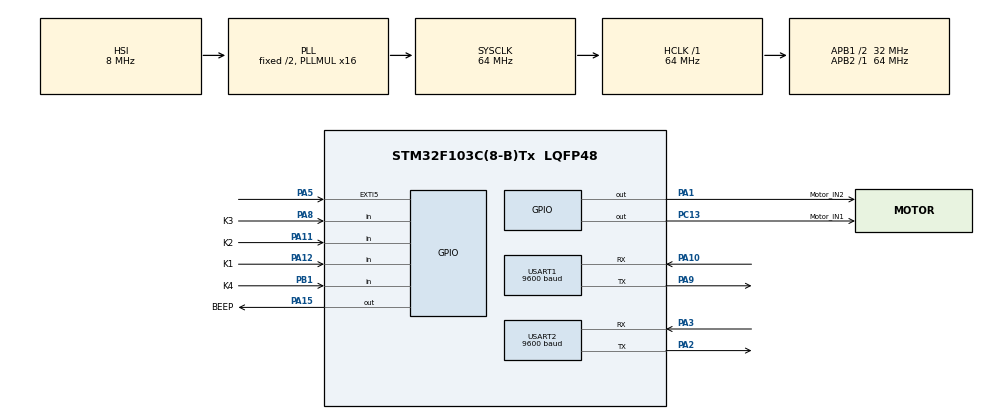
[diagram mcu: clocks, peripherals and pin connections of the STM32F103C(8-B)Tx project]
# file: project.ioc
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Mcu.Family=STM32F1
Mcu.Name=STM32F103C(8-B)Tx
Mcu.Package=LQFP48
NVIC.EXTI9_5_IRQn=true\:0\:0\:false\:false\:true\:true\:true
NVIC.PriorityGroup=NVIC_PRIORITYGROUP_4
NVIC.TIM1_UP_IRQn=true\:1\:0\:true\:false\:true\:true\:true
PA1.GPIO_Label=Motor_IN2
PA1.GPIO_PuPd=GPIO_PULLUP
PA1.GPIO_Speed=GPIO_SPEED_FREQ_HIGH
PA1.Signal=GPIO_Output
PA10.Mode=Asynchronous
PA10.Signal=USART1_RX
PA11.GPIO_Label=K2
PA11.GPIO_Mode=GPIO_MODE_INPUT
PA11.GPIO_PuPd=GPIO_PULLUP
PA11.Signal=GPIO_Input
PA12.GPIO_Label=K1
PA12.GPIO_Mode=GPIO_MODE_INPUT
PA12.GPIO_PuPd=GPIO_PULLUP
PA12.Signal=GPIO_Input
PA13.Mode=Serial_Wire
PA13.Signal=SYS_JTMS-SWDIO
PA14.Mode=Serial_Wire
PA14.Signal=SYS_JTCK-SWCLK
PA15.GPIO_Label=BEEP
PA15.GPIO_PuPd=GPIO_PULLUP
PA15.GPIO_Speed=GPIO_SPEED_FREQ_HIGH
PA15.PinState=GPIO_PIN_SET
PA15.Signal=GPIO_Output
PA2.Mode=Asynchronous
PA2.Signal=USART2_TX
PA3.Mode=Asynchronous
PA3.Signal=USART2_RX
PA5.Signal=GPXTI5
PA8.GPIO_Label=K3
PA8.GPIO_Mode=GPIO_MODE_INPUT
PA8.GPIO_PuPd=GPIO_PULLUP
PA8.Signal=GPIO_Input
PA9.Mode=Asynchronous
PA9.Signal=USART1_TX
PB1.GPIO_Label=K4
PB1.GPIO_Mode=GPIO_MODE_INPUT
PB1.GPIO_PuPd=GPIO_PULLUP
PB1.Signal=GPIO_Input
PC13-TAMPER-RTC.GPIO_Label=Motor_IN1
PC13-TAMPER-RTC.Signal=GPIO_Output
PC14-OSC32_IN.Mode=LSE-External-Oscillator
PC14-OSC32_IN.Signal=RCC_OSC32_IN
PC15-OSC32_OUT.Mode=LSE-External-Oscillator
PC15-OSC32_OUT.Signal=RCC_OSC32_OUT
ProjectManager.HeapSize=0x200
ProjectManager.StackSize=0x400
ProjectManager.TargetToolchain=MDK-ARM V5.27
RCC.AHBFreq_Value=64000000
RCC.APB1CLKDivider=RCC_HCLK_DIV2
RCC.APB1Freq_Value=32000000
RCC.APB1TimFreq_Value=64000000
RCC.APB2Freq_Value=64000000
RCC.APB2TimFreq_Value=64000000
RCC.HCLKFreq_Value=64000000
RCC.PLLMUL=RCC_PLL_MUL16
RCC.RTCClockSelection=RCC_RTCCLKSOURCE_LSE
RCC.SYSCLKFreq_VALUE=64000000
RCC.SYSCLKSource=RCC_SYSCLKSOURCE_PLLCLK
RCC.USBFreq_Value=64000000
RTC.Format=RTC_FORMAT_BCD
RTC.OutPut=RTC_OUTPUTSOURCE_ALARM
TIM1.Period=999
TIM1.Prescaler=63
USART1.BaudRate=9600
USART1.VirtualMode=VM_ASYNC
USART2.BaudRate=9600
USART2.VirtualMode=VM_ASYNC
VP_RTC_VS_RTC_Activate.Mode=RTC_Enabled
VP_RTC_VS_RTC_Calendar.Mode=RTC_Calendar
VP_TIM1_VS_ClockSourceINT.Mode=Internal
board=custom

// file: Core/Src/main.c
/* USER CODE BEGIN Header */
/**
  ******************************************************************************
  * @file           : main.c
  * @brief          : Main program body
  ******************************************************************************
  * @attention
  *
  * <h2><center>&copy; Copyright (c) 2021 STMicroelectronics.
  * All rights reserved.</center></h2>
  *
  * This software component is licensed by ST under BSD 3-Clause license,
  * the "License"; You may not use this file except in compliance with the
  * License. You may obtain a copy of the License at:
  *                        opensource.org/licenses/BSD-3-Clause
  *
  ******************************************************************************
  */
/* USER CODE END Header */
#include "main.h"
#include "rtc.h"
#include "tim.h"
#include "usart.h"
#include "gpio.h"

/* USER CODE BEGIN Includes */

#include "TFT.h"
#include "at24c02.h"
#include "iic.h"
//#include "ds1302.h"
#include "stdio.h"
#include "key.h"

/* USER CODE END Includes */

/* USER CODE BEGIN PD */

uint8_t USART1_TX_BUF[200]; //蓝牙
#define u1_printf(...)  HAL_UART_Transmit(&huart1,USART1_TX_BUF,sprintf((char *)USART1_TX_BUF,__VA_ARGS__),0xffff)

uint8_t USART2_TX_BUF[200]; //语音播报
#define u2_printf(...)  HAL_UART_Transmit(&huart2,USART2_TX_BUF,sprintf((char *)USART2_TX_BUF,__VA_ARGS__),0xffff)

#define Motor_IN1(a) (a?HAL_GPIO_WritePin(Motor_IN1_GPIO_Port,Motor_IN1_Pin,GPIO_PIN_SET):HAL_GPIO_WritePin(Motor_IN1_GPIO_Port,Motor_IN1_Pin,GPIO_PIN_RESET))
#define Motor_IN2(a) (a?HAL_GPIO_WritePin(Motor_IN2_GPIO_Port,Motor_IN2_Pin,GPIO_PIN_SET):HAL_GPIO_WritePin(Motor_IN2_GPIO_Port,Motor_IN2_Pin,GPIO_PIN_RESET))

/* USER CODE END PD */

/* USER CODE BEGIN PV */

/**********************************
变量定义
**********************************/
uchar key_num = 0;										//按键键值
uchar flag_display = 0;								//显示标志位

char Dis_Buf[15];											//显示存储缓存数组
uint16_t Motor_Speed,Motor_Num;				//电机测速变量
uint8_t Motor_PWM;										//电机调速变量

uint32_t price;												//总价
uint32_t km;													//公里数
uint32_t wait_sec;										//等待时间秒标志位
uint8_t sec;													//秒标志位
uint8_t jilu[10][10];									//存放10次记录变量
uint8_t jilu_num;											//记录

RTC_TimeTypeDef RTC_Time;							//RTC时间结构体
uint8_t time_set;											//时间设置变量

/* 地址0--小时   地址1--分钟   地址2--秒   地址3--星期   地址4--公里数百位十位   地址5--公里数个位小数位
地址6--等待时间分钟   地址7--等待时间秒   地址8--价格百位十位   地址9--价格个位小数位 */
/* USER CODE END PV */

void SystemClock_Config(void);
/* USER CODE BEGIN PFP */

/**********************************
函数声明
**********************************/
void Key_function(void);							//按键函数
void Monitor_function(void);					//监测函数
void Display_function(void);					//显示函数
void LCD_Dis_Init(void);							//显示内容初始化函数
void LCD_Clean_Half(void);						//清半屏

/****
*******按键函数
*****/
void Key_function(void)
{
	uint8_t j,k;
	key_num = Chiclet_Keyboard_Scan();	//按键扫描
	if(key_num != 0)										//有按键按下
	{
		switch(key_num)
		{
			case 1:													//按键1，电机加速
				if(Motor_PWM < 10) Motor_PWM+=4;
			break;

			case 2:													//按键2，电机减速
				if(Motor_PWM > 0) Motor_PWM-=4;
			break;

			case 3:													//按键3，查看记录
				if(flag_display==0 && time_set==0)
				{
					flag_display = 3;
					jilu_num = 0;
					dsp_single_colour(WHITE);
					LCD_Dis_Init();
				}
				else if(flag_display == 3)
				{
					jilu_num++;
					if(jilu_num >= 10)
					{
						flag_display=0;
						dsp_single_colour(WHITE);
						LCD_Dis_Init();
					}
				}
			break;

			case 4:													//按键4，切换不同状态（空车、有客）
				if(Motor_Speed==0 && time_set==0)					//只有在车停下来的时候才能切换
				{
					if(flag_display == 0)
					{
						flag_display = 1;
						LCD_Clean_Half();
						Fast_DrawFont_GBK16(32,40,BLACK,WHITE,"欢迎光临");
						Fast_DrawFont_GBK16(0,60,BLACK,WHITE,"上车请系好安全带");
						u2_printf("欢迎光临，上车请系好安全带");
						HAL_Delay(1000);
						km=0;
						wait_sec=0;
					}
					else if(flag_display == 1)
					{
						flag_display = 2;
						u2_printf("本次乘坐公里数为%d%.2d.%d，价格为%.2d.%d元",km/100000,km/1000%100,km/100%10,price/10,price%10);
						u2_printf("乘客请从右门下车，欢迎下次乘坐");
						/* 将本次乘车记录存放在24C02 */
						for(j=9;j>0;j--)										//将之前10次记录后移
						{
							for(k=0;k<10;k++)
							{
								jilu[j][k] = jilu[j-1][k];
							}
						}
						jilu[0][0] = RTC_Time.Hours;											//记录本次乘车信息--小时
						jilu[0][1] = RTC_Time.Minutes;										//记录本次乘车信息--分钟
						jilu[0][2] = RTC_Time.Seconds;										//记录本次乘车信息--秒
						jilu[0][4] = km/100/100;													//记录本次乘车信息--公里数（百位十位）
						jilu[0][5] = km/100%100;													//记录本次乘车信息--公里数（个位小数位）
						jilu[0][6] = wait_sec/60;													//记录本次乘车信息--等待时间（分钟）
						jilu[0][7] = wait_sec%60;													//记录本次乘车信息--等待时间（秒）
						jilu[0][8] = price/100;														//记录本次乘车信息--价格（百位十位）
						jilu[0][9] = price%100;														//记录本次乘车信息--价格（个位小数位）
						for(j=0;j<10;j++)																	//将本次记录存在24C02
						{
							for(k=0;k<10;k++)
							{
								At24c02_Write_Add(j*10+k,jilu[j][k]);
								HAL_Delay(2);
							}
						}
					}
					else if(flag_display == 2)
					{
						flag_display = 0;
					}
					if(flag_display < 2)
					{
						LCD_Clean_Half();
						LCD_Dis_Init();
					}
				}
			break;

			case 5:													//按键5，设置RTC时间
				if(flag_display == 0)					//进入时间设置模式
				{
					time_set++;
					if(time_set >= 4)						//将设置的时间存入RTC中
					{
						HAL_RTC_SetTime(&hrtc,&RTC_Time,RTC_FORMAT_BIN);
						time_set = 0;
					}
				}
			break;

			case 6:													//按键6，时间加
				switch(time_set)
				{
					case 1:
						RTC_Time.Hours++;
						if(RTC_Time.Hours >= 24) RTC_Time.Hours = 0;
					break;

					case 2:
						RTC_Time.Minutes++;
						if(RTC_Time.Minutes >= 60) RTC_Time.Minutes = 0;
					break;

					case 3:
						RTC_Time.Seconds++;
						if(RTC_Time.Seconds >= 60) RTC_Time.Seconds = 0;
					break;
				}
			break;

			case 7:													//按键7，时间减
				switch(time_set)
				{
					case 1:
						RTC_Time.Hours--;
						if(RTC_Time.Hours >= 24) RTC_Time.Hours = 23;
					break;

					case 2:
						RTC_Time.Minutes--;
						if(RTC_Time.Minutes >= 60) RTC_Time.Minutes = 59;
					break;

					case 3:
						RTC_Time.Seconds--;
						if(RTC_Time.Seconds >= 60) RTC_Time.Seconds = 59;
					break;
				}
			break;
		}
	}
}

/****
*******监测函数
*****/
void Monitor_function(void)
{
	if(time_set == 0)
		HAL_RTC_GetTime(&hrtc,&RTC_Time,RTC_FORMAT_BIN);//获取当前RTC时间

	if(sec == 1)																//每三秒蓝牙发送一次信息
	{
		sec=0;
		if(flag_display == 0) u1_printf("3公里起步价11元\r\n以上每公里2.4元\r\n每等五分钟按一公里计费\r\n");//蓝牙发送收费标准
		else if(flag_display==1 || flag_display==2)
		{
			if(flag_display == 1) u1_printf("速度：%.2dkm/h\r\n",Motor_Speed);
			u1_printf("公里数：%d%.2d.%dkm\r\n",km/100000,km/1000%100,km/100%10);
			u1_printf("等待时间：%.2d:%.2d\r\n",wait_sec/60,wait_sec%60);
			u1_printf("价格：%d.%dRMB\r\n",price/10,price%10);
		}
		else if(flag_display == 3)
		{
			u1_printf("第%d次记录\r\n",jilu_num + 1);
			u1_printf("时间：%.2d:%.2d:%.2d \r\n",jilu[jilu_num][0],jilu[jilu_num][1],jilu[jilu_num][2]);
			u1_printf("公里数：%.2d%d.%dkm\r\n",jilu[jilu_num][4],jilu[jilu_num][5]/10%10,jilu[jilu_num][5]%10);
			u1_printf("等待时间：%.2d:%.2d\r\n",jilu[jilu_num][6],jilu[jilu_num][7]);
			u1_printf("价格：%d%d.%dRMB\r\n",jilu[jilu_num][8],jilu[jilu_num][9]/10%10,jilu[jilu_num][9]%10);
		}
	}
}

/****
*******显示函数
*****/
void Display_function(void)
{
	if(flag_display==0 || flag_display==1)
	{
		/* 显示小时、分钟、秒		*/
		sprintf(Dis_Buf,"%.2d:%.2d:%.2d",RTC_Time.Hours,RTC_Time.Minutes,RTC_Time.Seconds);
		Display_ASCII8X16_Color(32,16,(uchar *)Dis_Buf,BLACK,WHITE);

		if(time_set == 1) Lcd_DrawLine(32,30,BLACK);
		else if(time_set == 2) Lcd_DrawLine(32+3*8,30,BLACK);
		else if(time_set == 3) Lcd_DrawLine(32+6*8,30,BLACK);
	}

	if(flag_display == 1)
	{
		/* 显示公里数 */
		sprintf(Dis_Buf,"%d%.2d.%dkm",km/100000,km/1000%100,km/100%10);
		Display_ASCII8X16_Color(70,60,(uchar *)Dis_Buf,BLACK,WHITE);
		/* 显示速度 */
		sprintf(Dis_Buf,"%.2dkm/h ",Motor_Speed);
		Display_ASCII8X16_Color(70,40,(uchar *)Dis_Buf,BLACK,WHITE);
		/* 显示等待时间 */
		sprintf(Dis_Buf,"%.2d:%.2d ",wait_sec/60,wait_sec%60);
		Display_ASCII8X16_Color(70,80,(uchar *)Dis_Buf,BLACK,WHITE);
		/* 显示价格 */
		if(km <= 3000) price = 110;																			//3km以内价格全是11元
		else price = (wait_sec*24/300) + ((km-3000)*24/1000) + 110;			//3km价格计算
		sprintf(Dis_Buf,"%d.%dRMB ",price/10,price%10);
		Display_ASCII8X16_Color(70,100,(uchar *)Dis_Buf,BLACK,WHITE);
	}
	else if(flag_display == 3)																				//显示记录
	{
		sprintf(Dis_Buf,"%d  ",jilu_num + 1);
		Display_ASCII8X16_Color(0,0,(uchar *)Dis_Buf,BLACK,WHITE);
		/* 显示小时、分钟、秒		*/
		sprintf(Dis_Buf,"%.2d:%.2d:%.2d",jilu[jilu_num][0],jilu[jilu_num][1],jilu[jilu_num][2]);
		Display_ASCII8X16_Color(32,16,(uchar *)Dis_Buf,BLACK,WHITE);

		/* 显示公里数 */
		sprintf(Dis_Buf,"%.2d%d.%dkm",jilu[jilu_num][4],jilu[jilu_num][5]/10%10,jilu[jilu_num][5]%10);
		Display_ASCII8X16_Color(70,60,(uchar *)Dis_Buf,BLACK,WHITE);
		/* 显示等待时间 */
		sprintf(Dis_Buf,"%.2d:%.2d ",jilu[jilu_num][6],jilu[jilu_num][7]);
		Display_ASCII8X16_Color(70,80,(uchar *)Dis_Buf,BLACK,WHITE);
		/* 显示价格 */
		sprintf(Dis_Buf,"%d%d.%dRMB ",jilu[jilu_num][8],jilu[jilu_num][9]/10%10,jilu[jilu_num][9]%10);
		Display_ASCII8X16_Color(70,100,(uchar *)Dis_Buf,BLACK,WHITE);
	}
}

/****
*******显示内容初始化函数
*****/
void LCD_Dis_Init(void)
{
	switch(flag_display)												//根据不同的显示标志位，显示不同的界面内容
	{
		case 0:																		//界面0
			/* 显示价格 */
			Display_ASCII8X16_Color(0,40,"3",BLACK,WHITE);
			Fast_DrawFont_GBK16(8,40,BLACK,WHITE,"公里起步价");
			Display_ASCII8X16_Color(6*16-8,40,"11",BLACK,WHITE);
			Fast_DrawFont_GBK16(7*16-8,40,BLACK,WHITE,"元");
			Fast_DrawFont_GBK16(0,60,BLACK,WHITE,"以上每公里");
			Display_ASCII8X16_Color(5*16,60,"2.4",BLACK,WHITE);
			Fast_DrawFont_GBK16(7*16-8,60,BLACK,WHITE,"元");
			Fast_DrawFont_GBK16(24,80,BLACK,WHITE,"每等五分钟");
			Fast_DrawFont_GBK16(16,100,BLACK,WHITE,"按一公里计费");
		break;

		case 1:																		//界面1
			Fast_DrawFont_GBK16(8,60,BLACK,WHITE,"公里数");
			Fast_DrawFont_GBK16(16,40,BLACK,WHITE,"速度");
			Fast_DrawFont_GBK16(0,80,BLACK,WHITE,"等待时间");
			Fast_DrawFont_GBK16(16,100,BLACK,WHITE,"价格");
		break;

		case 3:																		//界面3
			Fast_DrawFont_GBK16(8,60,BLACK,WHITE,"公里数");
			Fast_DrawFont_GBK16(0,80,BLACK,WHITE,"等待时间");
			Fast_DrawFont_GBK16(16,100,BLACK,WHITE,"价格");
		break;

		default:
		break;
	}
}

void LCD_Clean_Half(void)//TFT清下半屏
{
	uint8_t j,k;
	Lcd_SetRegion(0,40,127,127);
	for(j=0;j<88;j++)
	{
		for(k=0;k<128;k++)
		{
			LCD_WriteData_16Bit(WHITE);
		}
	}
}

/* USER CODE END PFP */

int main(void)
{
  /* USER CODE BEGIN 1 */

	uint8_t j,k;

  /* USER CODE END 1 */

  /* MCU Configuration--------------------------------------------------------*/

  /* Reset of all peripherals, Initializes the Flash interface and the Systick. */
  HAL_Init();

  /* Configure the system clock */
  SystemClock_Config();

  /* Initialize all configured peripherals */
  MX_GPIO_Init();
  MX_TIM1_Init();
  MX_USART1_UART_Init();
  MX_USART2_UART_Init();
  MX_RTC_Init();
  /* USER CODE BEGIN 2 */

	TFT_GPIO_Init();											//TFT屏幕相关初始化
	lcd_initial();
	dsp_single_colour(WHITE);

	HAL_TIM_Base_Start_IT(&htim1);				//使能定时器1中断
	IIC_GPIO_Init();											//IIC相关初始化

	for(j=0;j<10;j++)											//读十次记录
	{
		for(k=0;k<10;k++)
		{
			jilu[j][k] = At24c02_Read_Add(j*10+k);
			HAL_Delay(1);
		}
	}
	LCD_Dis_Init();											//显示内容初始化
  /* USER CODE END 2 */

  /* Infinite loop */
  /* USER CODE BEGIN WHILE */
	while (1)
  {
		Key_function();										//按键函数
		Monitor_function();								//监测函数
		Display_function();								//显示函数

    /* USER CODE END WHILE */

  }
}

void SystemClock_Config(void)
{
  RCC_OscInitTypeDef RCC_OscInitStruct = {0};
  RCC_ClkInitTypeDef RCC_ClkInitStruct = {0};
  RCC_PeriphCLKInitTypeDef PeriphClkInit = {0};

  /** Initializes the RCC Oscillators according to the specified parameters
  * in the RCC_OscInitTypeDef structure.
  */
  RCC_OscInitStruct.OscillatorType = RCC_OSCILLATORTYPE_HSI|RCC_OSCILLATORTYPE_LSE;
  RCC_OscInitStruct.LSEState = RCC_LSE_ON;
  RCC_OscInitStruct.HSIState = RCC_HSI_ON;
  RCC_OscInitStruct.HSICalibrationValue = RCC_HSICALIBRATION_DEFAULT;
  RCC_OscInitStruct.PLL.PLLState = RCC_PLL_ON;
  RCC_OscInitStruct.PLL.PLLSource = RCC_PLLSOURCE_HSI_DIV2;
  RCC_OscInitStruct.PLL.PLLMUL = RCC_PLL_MUL16;
  if (HAL_RCC_OscConfig(&RCC_OscInitStruct) != HAL_OK)
  {
    Error_Handler();
  }
  /** Initializes the CPU, AHB and APB buses clocks
  */
  RCC_ClkInitStruct.ClockType = RCC_CLOCKTYPE_HCLK|RCC_CLOCKTYPE_SYSCLK
                              |RCC_CLOCKTYPE_PCLK1|RCC_CLOCKTYPE_PCLK2;
  RCC_ClkInitStruct.SYSCLKSource = RCC_SYSCLKSOURCE_PLLCLK;
  RCC_ClkInitStruct.AHBCLKDivider = RCC_SYSCLK_DIV1;
  RCC_ClkInitStruct.APB1CLKDivider = RCC_HCLK_DIV2;
  RCC_ClkInitStruct.APB2CLKDivider = RCC_HCLK_DIV1;

  if (HAL_RCC_ClockConfig(&RCC_ClkInitStruct, FLASH_LATENCY_2) != HAL_OK)
  {
    Error_Handler();
  }
  PeriphClkInit.PeriphClockSelection = RCC_PERIPHCLK_RTC;
  PeriphClkInit.RTCClockSelection = RCC_RTCCLKSOURCE_LSE;
  if (HAL_RCCEx_PeriphCLKConfig(&PeriphClkInit) != HAL_OK)
  {
    Error_Handler();
  }
}

/* USER CODE BEGIN 4 */

uint8_t i;
uint16_t time,k;
void HAL_TIM_PeriodElapsedCallback(TIM_HandleTypeDef *htim)//定时器中断回调函数
{
	/* 电机测速 */
	time++;
	if(time >= 3000)
	{
		time=0;
		sec=1;
		Motor_Speed = Motor_Num/20;
		if(flag_display == 1) km += ((Motor_Speed*1000)/3600)*3;
		Motor_Num = 0;
	}
	/* 等待时间计数 */
	if(flag_display==1 && Motor_Speed==0)
	{
		k++;
		if(k>=1000)
		{
			k=0;
			wait_sec++;
		}
	}

	/* 电机调速 */
	i++;
	if(i >= 12) i=0;//为PWM信号产生一个周期

	if(i < Motor_PWM) Motor_IN2(1);//产生PWM信号
	else Motor_IN2(0);
}

void HAL_GPIO_EXTI_Callback(uint16_t GPIO_Pin)//外部中断回调函数
{
	if(GPIO_Pin == GPIO_PIN_5)	//判断是否是GPIO5触发中断
	{
		Motor_Num++;
	}
}

/* USER CODE END 4 */

void Error_Handler(void)
{
  __disable_irq();
  while (1)
  {
  }
}

/************************ (C) COPYRIGHT STMicroelectronics *****END OF FILE****/
